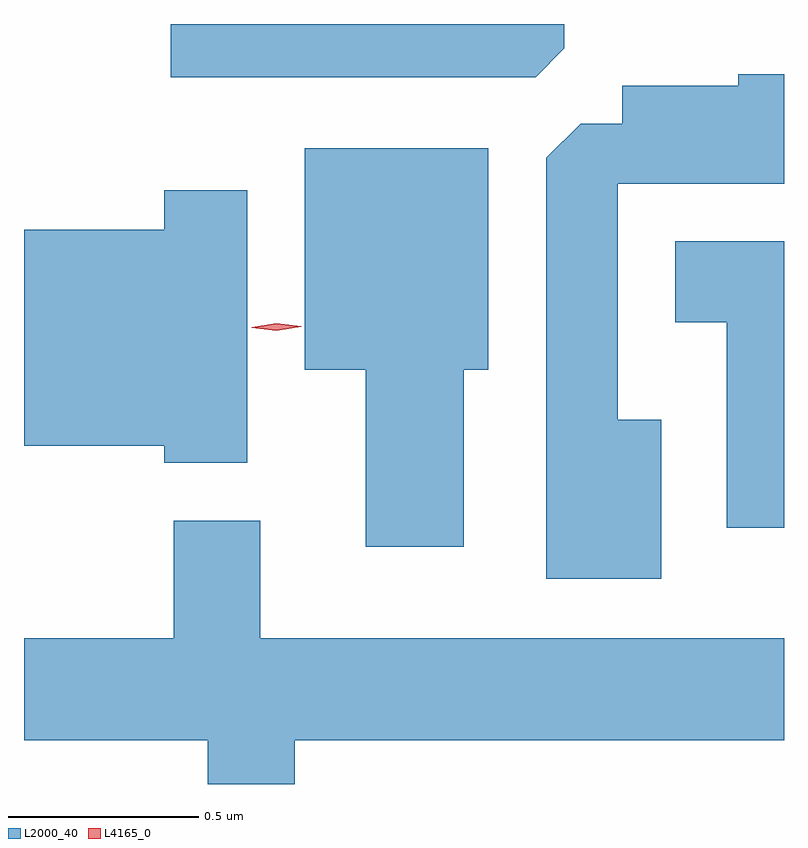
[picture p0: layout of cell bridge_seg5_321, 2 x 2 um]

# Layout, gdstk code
import gdstk
lib = gdstk.Library(unit=1e-6, precision=1e-09)
def P(c, l, *ps):  # polygons
    for p in ps: c.add(gdstk.Polygon(p, *l))
L2000_40 = (2000, 40)
L4165_0 = (4165, 0)

bridge_seg5_321 = lib.new_cell('bridge_seg5_321')
P(bridge_seg5_321, L2000_40, [(778.379,1485.257),(778.379,1485.321),(777.343,1485.321),(777.343,1485.181),(778.304,1485.181)],
  [(778.634,1484.279),(778.519,1484.279),(778.519,1484.901),(778.957,1484.901),(778.957,1485.189),(778.836,1485.189),(778.836,1485.159),(778.531,1485.159),(778.531,1485.059),(778.422,1485.059),(778.331,1484.969),(778.331,1483.861),(778.634,1483.861)],
  [(778.114,1484.411),(778.179,1484.411),(778.179,1484.994),(777.696,1484.994),(777.696,1484.411),(777.856,1484.411),(777.856,1483.946),(778.114,1483.946)],
  [(777.544,1484.884),(777.326,1484.884),(777.326,1484.779),(776.957,1484.779),(776.957,1484.211),(777.326,1484.211),(777.326,1484.166),(777.544,1484.166)],
  [(778.957,1484.749),(778.671,1484.749),(778.671,1484.536),(778.806,1484.536),(778.806,1483.996),(778.957,1483.996)],
  [(777.669,1483.436),(778.957,1483.436),(778.957,1483.704),(777.579,1483.704),(777.579,1484.014),(777.351,1484.014),(777.351,1483.704),(776.957,1483.704),(776.957,1483.436),(777.441,1483.436),(777.441,1483.321),(777.669,1483.321)])
P(bridge_seg5_321, L4165_0, [(777.621,1484.514),(777.556,1484.522),(777.556,1484.522),(777.556,1484.523),(777.621,1484.534),(777.686,1484.525),(777.686,1484.525),(777.686,1484.524)])

lib.write_gds('bridge_seg5_321.gds')
